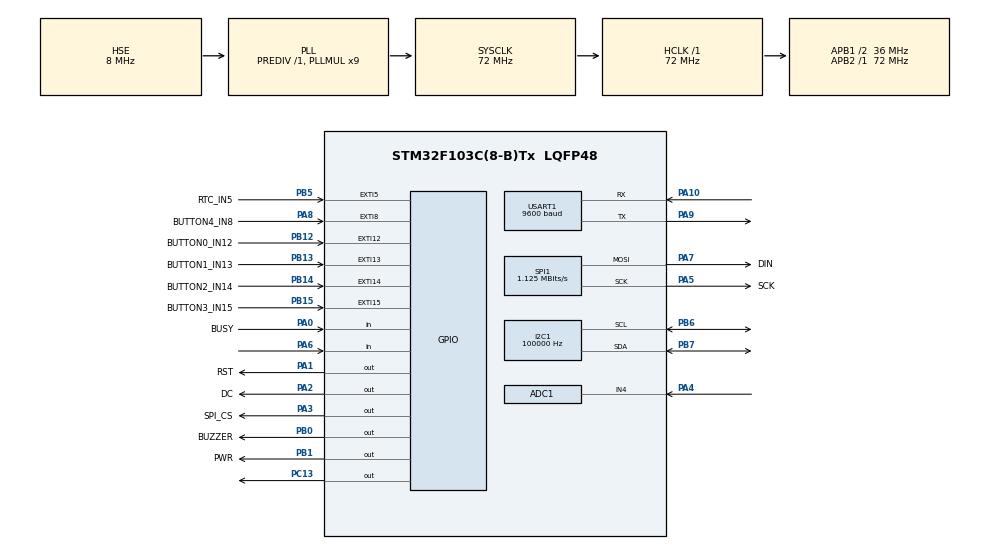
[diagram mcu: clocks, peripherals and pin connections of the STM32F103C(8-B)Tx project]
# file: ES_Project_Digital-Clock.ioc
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ADC1.Channel-0\#ChannelRegularConversion=ADC_CHANNEL_4
ADC1.NbrOfConversionFlag=1
ADC1.Rank-0\#ChannelRegularConversion=1
ADC1.SamplingTime-0\#ChannelRegularConversion=ADC_SAMPLETIME_1CYCLE_5
ADC1.master=1
I2C1.ClockSpeed=100000
Mcu.Family=STM32F1
Mcu.Name=STM32F103C(8-B)Tx
Mcu.Package=LQFP48
NVIC.ADC1_2_IRQn=true\:0\:0\:true\:false\:true\:true\:true\:true
NVIC.EXTI15_10_IRQn=true\:0\:0\:true\:false\:true\:true\:true\:true
NVIC.EXTI9_5_IRQn=true\:0\:0\:true\:false\:true\:true\:true\:true
NVIC.PriorityGroup=NVIC_PRIORITYGROUP_4
NVIC.USART1_IRQn=true\:0\:0\:true\:false\:true\:true\:true\:true
PA0-WKUP.GPIO_Label=BUSY
PA0-WKUP.Signal=GPIO_Input
PA1.GPIO_Label=RST
PA1.Signal=GPIO_Output
PA10.Mode=Asynchronous
PA10.Signal=USART1_RX
PA13.Mode=Serial_Wire
PA13.Signal=SYS_JTMS-SWDIO
PA14.Mode=Serial_Wire
PA14.Signal=SYS_JTCK-SWCLK
PA2.GPIO_Label=DC
PA2.Signal=GPIO_Output
PA3.GPIO_Label=SPI_CS
PA3.Signal=GPIO_Output
PA4.Signal=ADCx_IN4
PA5.GPIO_Label=SCK
PA5.Mode=TX_Only_Simplex_Unidirect_Master
PA5.Signal=SPI1_SCK
PA6.Signal=GPIO_Input
PA7.GPIO_Label=DIN
PA7.Mode=TX_Only_Simplex_Unidirect_Master
PA7.Signal=SPI1_MOSI
PA8.GPIO_Label=BUTTON4_IN8
PA8.GPIO_ModeDefaultEXTI=GPIO_MODE_IT_FALLING
PA8.GPIO_PuPd=GPIO_PULLDOWN
PA8.Signal=GPXTI8
PA9.Mode=Asynchronous
PA9.Signal=USART1_TX
PB0.GPIO_Label=BUZZER
PB0.Signal=GPIO_Output
PB1.GPIO_Label=PWR
PB1.Signal=GPIO_Output
PB12.GPIO_Label=BUTTON0_IN12
PB12.GPIO_ModeDefaultEXTI=GPIO_MODE_IT_FALLING
PB12.GPIO_PuPd=GPIO_PULLDOWN
PB12.Signal=GPXTI12
PB13.GPIO_Label=BUTTON1_IN13
PB13.GPIO_ModeDefaultEXTI=GPIO_MODE_IT_FALLING
PB13.GPIO_PuPd=GPIO_PULLDOWN
PB13.Signal=GPXTI13
PB14.GPIO_Label=BUTTON2_IN14
PB14.GPIO_ModeDefaultEXTI=GPIO_MODE_IT_FALLING
PB14.GPIO_PuPd=GPIO_PULLDOWN
PB14.Signal=GPXTI14
PB15.GPIO_Label=BUTTON3_IN15
PB15.GPIO_ModeDefaultEXTI=GPIO_MODE_IT_FALLING
PB15.GPIO_PuPd=GPIO_PULLDOWN
PB15.Signal=GPXTI15
PB5.GPIO_Label=RTC_IN5
PB5.GPIO_ModeDefaultEXTI=GPIO_MODE_IT_FALLING
PB5.Signal=GPXTI5
PB6.Mode=I2C
PB6.Signal=I2C1_SCL
PB7.Mode=I2C
PB7.Signal=I2C1_SDA
PC13-TAMPER-RTC.Signal=GPIO_Output
PD0-OSC_IN.Mode=HSE-External-Oscillator
PD0-OSC_IN.Signal=RCC_OSC_IN
PD1-OSC_OUT.Mode=HSE-External-Oscillator
PD1-OSC_OUT.Signal=RCC_OSC_OUT
ProjectManager.HeapSize=0x200
ProjectManager.StackSize=0x400
ProjectManager.TargetToolchain=STM32CubeIDE
RCC.ADCPresc=RCC_ADCPCLK2_DIV6
RCC.AHBFreq_Value=72000000
RCC.APB1CLKDivider=RCC_HCLK_DIV2
RCC.APB1Freq_Value=36000000
RCC.APB1TimFreq_Value=72000000
RCC.APB2Freq_Value=72000000
RCC.APB2TimFreq_Value=72000000
RCC.HCLKFreq_Value=72000000
RCC.PLLMUL=RCC_PLL_MUL9
RCC.PLLSourceVirtual=RCC_PLLSOURCE_HSE
RCC.SYSCLKFreq_VALUE=72000000
RCC.SYSCLKSource=RCC_SYSCLKSOURCE_PLLCLK
RCC.USBFreq_Value=72000000
SH.ADCx_IN4.0=ADC1_IN4,IN4
SPI1.BaudRatePrescaler=SPI_BAUDRATEPRESCALER_64
SPI1.CalculateBaudRate=1.125 MBits/s
SPI1.Direction=SPI_DIRECTION_2LINES
SPI1.Mode=SPI_MODE_MASTER
SPI1.VirtualType=VM_MASTER
USART1.BaudRate=9600
USART1.VirtualMode=VM_ASYNC
board=custom

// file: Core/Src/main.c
/* USER CODE BEGIN Header */
/**
  ******************************************************************************
  * @file           : main.c
  * @brief          : Main program body
  ******************************************************************************
  * @attention
  *
  * Copyright (c) 2025 STMicroelectronics.
  * All rights reserved.
  *
  * This software is licensed under terms that can be found in the LICENSE file
  * in the root directory of this software component.
  * If no LICENSE file comes with this software, it is provided AS-IS.
  *
  *
  * This project is developed by Nguyen Hung Minh, Bui Dinh Trung Nam, and Nguyen Duy Ngoc
  * - Students at Vietnam National University, Ho Chi Minh City - University of Technology.
  *
  * Please read and follow the naming conventions in naming_conventions.md before editing this file.
  *
  ******************************************************************************
  */
/* USER CODE END Header */
#include "main.h"
#include "adc.h"
#include "i2c.h"
#include "spi.h"
#include "usart.h"
#include "gpio.h"

/* USER CODE BEGIN Includes */

#include "stdbool.h"  // Include standard boolean types
#include "stdio.h"    // Include standard input/output functions
#include "string.h"   // Include string manipulation functions
#include "EPD_Test.h" // Include the EPD_Test header file for e-Paper display functions

/* USER CODE END Includes */

/* USER CODE BEGIN PTD */

// Enum for alarm day of week or date of month mode
typedef enum
{
  DAY_OF_WEEK_MODE,
  DATE_OF_MONTH_MODE,
  NOT_USED_MODE
} ALARM_DY_DT_MODE;

// Enum for button debounce states
typedef enum
{
  BUTTON_RELEASED,    // Button is not pressed (HIGH state)
  BUTTON_WAITING,     // Button is pressed (LOW state) and waiting for debounce delay
  BUTTON_PRESSED,     // Button is pressed (LOW state)
} BUTTON_STATE;

// Enum for system modes
//typedef enum {
// DEFAULT_MODE,
// TIME_SETUP_MODE,
// ALARM_SETUP_MODE,
// ALARM_VIEW_MODE,
// ALARM_ACTIVE_MODE,
// SYSTEM_OPTIONS_MODE
//} SYSTEM_MODE;

// Enum for system parameters to be selected for modification
typedef enum
{
  SET_MINUTE,   // Set minutes value
  SET_HOUR,     // Set hours value
  SET_DOW,      // Set day of the week value
  SET_DOM,      // Set date of the month value
  SET_MONTH,    // Set month value
  SET_YEAR,     // Set year value
  SET_DY_DT,    // Set day of week or date of month (1 = day of week, 0 = date of month, 2 = not used)
  SET_DOW_DOM,  // Set day of the week or date of the month value
  SET_ON_OFF,   // Set ON/OFF state
} SYSTEM_PARAM_SELECT;

// Structure of 7 one-byte unsigned characters to store time values
typedef struct
{
	uint8_t second;       // Seconds: 0-59
	uint8_t minute;       // Minutes: 0-59
	uint8_t hour;         // Hours: 0-23
	uint8_t dayofweek;    // Day of the week: 1-7 (1 = Sunday, 2 = Monday, ..., 7 = Saturday)
	uint8_t dateofmonth;  // Date of the month: 1-31
	uint8_t month;        // Month: 1-12
	uint8_t year;         // Year: 0-99 (0 = 2000, 1 = 2001, ..., 99 = 2099)
} TIME_DATA;

// Structure of 4 one-byte unsigned characters to store alarm values
typedef struct
{
  uint8_t           second;   // Seconds: 0-59 (MSB = 1 for ON, 0 for OFF)
  uint8_t           minute;   // Minutes: 0-59
  uint8_t           hour;     // Hours: 0-23
  ALARM_DY_DT_MODE  dy_dt;    // Select: DAY_OF_WEEK_MODE, DATE_OF_MONTH_MODE, NOT_USED_MODE
  uint8_t           dow_dom;  // Day of the week: 1-7 (1 = Sunday, 2 = Monday, ..., 7 = Saturday), or Date of the month: 1-31
  bool              on_off;   // true = ON, false = OFF
} ALARM_DATA;

// Struct representing each button with debouncing state
typedef struct
{
  GPIO_TypeDef    *gpio_port; // GPIO port of the button
  uint16_t        gpio_pin;   // GPIO pin of the button
  uint8_t         index;      // Index of the button (0-4)
  BUTTON_STATE    state;      // Current state of the button
  uint32_t        start_tick; // Start time of the debounce timer
  volatile bool   int_flag;   // Set when button interrupt is triggered
  volatile bool   press_flag; // Set when button is pressed
  volatile bool   hold_flag;  // Set when button is held down
  volatile bool   latch;  // Set when button is pressed or held (once only)
} BUTTON_DATA;

// Struct for system state
typedef struct
{
  SYSTEM_MODE         mode;             // Current system mode
  SYSTEM_MODE         past_mode;        // Previous system mode
  SYSTEM_PARAM_SELECT param_select;     // Selected system parameter to be modified
  uint8_t             cursor;           // Cursor of selection
  uint8_t             battery_display;  // Battery percentage to be displayed: 100, 75, 50, 25, 0
} SYSTEM_STATE;

// Struct for system parameters to be modified
typedef struct
{
  uint8_t           minute;   // Minutes: 0-59
  uint8_t           hour;     // Hours: 0-23
  uint8_t           dow;      // Day of the week: 1-7 (1 = Sunday, 2 = Monday, ..., 7 = Saturday), or Date of the month: 1-31
  uint8_t           dom;      // Date of the month: 1-31, or Day of the week: 1-7, or not used: 0
  uint8_t           month;    // Month: 1-12
  uint8_t           year;     // Year: 0-99 (0 = 2000, 1 = 2001, ..., 99 = 2099)
  ALARM_DY_DT_MODE  dy_dt;    // Select: DAY_OF_WEEK_MODE, DATE_OF_MONTH_MODE, NOT_USED_MODE
  uint8_t           dow_dom;  // Day of the week: 1-7 (1 = Sunday, 2 = Monday, ..., 7 = Saturday), or Date of the month: 1-31
  bool              on_off;   // true = ON, false = OFF
} SYSTEM_PARAM_DATA;

/* USER CODE END PTD */

/* USER CODE BEGIN PD */

// Slave address of DS3231 RTC module
#define DS3231_ADDR 0xD0

// I2C handle for DS3231 RTC module
#define DS3231_I2C &hi2c1

// Slave address of AT24C64D EEPROM module
#define EEPROM_ADDR 0xA0

// I2C handle for AT24C64D EEPROM module
#define EEPROM_I2C &hi2c1

// Number of alarms in the EEPROM module
#define ALARM_SLOT_NUM 10

// Address of alarm slot pointer in EEPROM module (right after the last alarm slot)
#define ALARM_SLOT_PTR_ADDR (ALARM_SLOT_NUM * 4)

// Active state of buttons
#define BUTTON_ACTIVE GPIO_PIN_SET

// Debounce threshold in milliseconds
#define BUTTON_DEBOUNCE_DELAY 30

// Button hold threshold in milliseconds
#define BUTTON_HOLD_TH 600

// Button hold cycle in milliseconds
#define BUTTON_HOLD_CYCLE 250

// Number of system modes
#define SYSTEM_MODE_NUM 6

// Maximum value of the system cursor
#define SYSTEM_CURSOR_MAX 9

// Delay for displaying the e-Paper screen in milliseconds
#define DISPLAY_DELAY 500

/* USER CODE END PD */

/* USER CODE BEGIN PV */

/* SYSTEM ==========================================*/
// Global variable to store the current system mode and selected parameter
SYSTEM_STATE system_state = {0};

// Global variable to store the system parameters to be modified
SYSTEM_PARAM_DATA system_param_data = {0};

/* RTC & EEPROM ====================================*/
// Variable to store the time values received from the RTC module every second
volatile TIME_DATA time_get_data = {0};

// Array to store the alarm values received from the EEPROM module
volatile ALARM_DATA alarm_get_data [ALARM_SLOT_NUM] = {0};

// Pointer to the next free alarm in the EEPROM module
uint8_t alarm_slot_ptr;

// Flag for RTC trigger external interrupt (RTC Interrupt Flag) on PB4 (Activated every second)
volatile bool rtc_int_flag = false;

// Debugging: Track the number of alarm activations
uint8_t debug_alarm_activate_ctr = 0;
volatile bool debug_rtc_int = false;

/* BUTTON ========================================*/
// Debugging: Track if the button is pressed or not
volatile uint8_t debug_button_counter[5] = {0};

// Global instances of DEBOUNCE_BUTTON for each button
BUTTON_DATA button0 = {GPIOB, BUTTON0_IN12_Pin, 0, BUTTON_RELEASED, 0, false, false, false, false};
BUTTON_DATA button1 = {GPIOB, BUTTON1_IN13_Pin, 1, BUTTON_RELEASED, 0, false, false, false, false};
BUTTON_DATA button2 = {GPIOB, BUTTON2_IN14_Pin, 2, BUTTON_RELEASED, 0, false, false, false, false};
BUTTON_DATA button3 = {GPIOB, BUTTON3_IN15_Pin, 3, BUTTON_RELEASED, 0, false, false, false, false};
BUTTON_DATA button4 = {GPIOA, BUTTON4_IN8_Pin,  4, BUTTON_RELEASED, 0, false, false, false, false};

/* ADC ==========================================*/
// Flag for ADC interrupt (ADC Valid Flag)
volatile bool adc_valid_flag = false;

// Variable for ADC raw data
uint16_t adc_data;

// Variable for battery percentage (raw data * 100 / 4095 (2^12))
uint16_t battery_percentage;

/* UART ========================================*/
// Flag for UART interrupt (UART Receive Flag)
volatile bool uart_rx_flag = false;

// Variable for UART receive data: hour and minute
uint8_t uart_rx_data[2];

// Variable to store hour and minute values received from the UART module
uint8_t uart_rx_hour;
uint8_t uart_rx_minute;

/* USER CODE END PV */

void SystemClock_Config(void);
/* USER CODE BEGIN PFP */

// Function to convert a normal decimal number to binary coded decimal (BCD)
uint8_t Dec_To_BCD(int val);

// Function to convert a binary coded decimal (BCD) value to a normal decimal number
int BCD_To_Dec(uint8_t val);

// Function to initialize RTC module
void Time_Init (uint8_t sec, uint8_t min, uint8_t hour, uint8_t dow, uint8_t dom, uint8_t month, uint8_t year);

// Function to initially set time to the RTC module through I2C interface (Run only once after reset the RTC)
void Time_Set (uint8_t sec, uint8_t min, uint8_t hour, uint8_t dow, uint8_t dom, uint8_t month, uint8_t year);

// Function to get time from the RTC module through I2C interface
void Time_Get (volatile TIME_DATA *time_get_data);

// Function to control settings of the RTC module (Alarm 1)
void Time_Ctrl (uint8_t mode, uint8_t sec, uint8_t min, uint8_t hour, uint8_t dow_dom, bool dy_dt);

// Function to write a single alarm to the EEPROM module
void Alarm_Set (uint8_t sec, uint8_t min, uint8_t hour, uint8_t dow_dom, ALARM_DY_DT_MODE dy_dt, bool on_off, uint8_t slot);

// Function to read a single alarm from the EEPROM module
void Alarm_Get (uint8_t slot, volatile ALARM_DATA *alarm_get_data);

// Function to clear a single alarm from the EEPROM module
void Alarm_Clear (uint8_t slot);

// // Function to check the alarms
void Alarm_Check (volatile TIME_DATA *time_get_data);

// Functions to handle alarm slot pointer
void Alarm_Slot_Pointer_Set (void);
void Alarm_Slot_Pointer_Get (void);

// Debounce handler function to be called in main loop
void Button_Debounce(BUTTON_DATA *button);

// Button handler function to be called in main loop
void Button_Handle(void);

// System mode handlers
void System_Default_Mode_Handle (BUTTON_DATA *button);
void System_Time_Setup_Mode_Handle (BUTTON_DATA *button);
void System_Alarm_Setup_Mode_Handle (BUTTON_DATA *button);
void System_Alarm_View_Mode_Handle (BUTTON_DATA *button);
void System_Alarm_Active_Mode_Handle (BUTTON_DATA *button);
void System_Options_Mode_Handle (BUTTON_DATA *button);

/* USER CODE END PFP */

int main(void)
{

  /* MCU Configuration--------------------------------------------------------*/

  /* Reset of all peripherals, Initializes the Flash interface and the Systick. */
  HAL_Init();

  /* Configure the system clock */
  SystemClock_Config();

  /* Initialize all configured peripherals */
  MX_GPIO_Init();
  MX_I2C1_Init();
  MX_ADC1_Init();
  MX_USART1_UART_Init();
  MX_SPI1_Init();
  /* USER CODE BEGIN 2 */

//  // Set time to the RTC module through I2C interface (Run only once after reset the RTC).
//  //    void Time_Set(uint8_t sec, uint8_t min, uint8_t hour, uint8_t dow, uint8_t dom, uint8_t month, uint8_t year)
//  Time_Set
//  (
//     0, // Seconds: 0-59
//    26, // Minutes: 0-59
//    11, // Hours: 0-23
//     4, // Day of the week: 1-7 (1 = Sunday, 2 = Monday, ..., 7 = Saturday)
//    18, // Date of the month: 1-31
//     4, // Month: 1-12
//    25  // Year: 0-99 (0 = 2000, 1 = 2001, ..., 99 = 2099)
//  );

  // Initialize RTC module (Run only once after reset the RTC).
  Time_Ctrl
  (
     0, // Alarm rate: 0-5
     0, // Seconds: 0-59
     0, // Minutes: 0-59
     0, // Hours: 0-23
     0, // Day of the week: 1-7 (1 = Sunday, 2 = Monday, ..., 7 = Saturday), or Date of the month: 1-31
     0  // Select: 1 = day of week, 0 = date of month
  );

  // Initially retrieve the time values from the RTC module
  Time_Get(&time_get_data);

  // // Clear all alarms in the EEPROM module
  // for (int i = 0; i < ALARM_SLOT_NUM; i++)
  // {
  //   Alarm_Clear(i);
  //   alarm_slot_ptr = 0;
  //   Alarm_Slot_Pointer_Set();
  // }

  // // Store values of a single alarm to the next available address on the EEPROM module
  // //    void Alarm_Set (uint8_t sec, uint8_t min, uint8_t hour, uint8_t dow_dom, ALARM_DY_DT_MODE dy_dt, bool on_off, uint8_t slot)
  // Alarm_Set
  // (
  //   10,    // Seconds: 0-59
  //   20,    // Minutes: 0-59
  //   22,    // Hours: 0-23
  //    9,    // Day of the week: 1-7 (1 = Sunday, 2 = Monday, ..., 7 = Saturday), or Date of the month: 1-31, or not used: 0
  //    0,    // Select: 0 = date of month, 1 = day of week, 2 = not used
  //   false, // true = ON, false = OFF
  //    1     // Slot number of the alarm in the EEPROM module (0-9)
  // );

  // Initially retrieve the alarm slot pointer data from the EEPROM module
  Alarm_Slot_Pointer_Get();

  // Initially retrieve the alarm values from the EEPROM module and send to system memory
  for (int i = 0; i < alarm_slot_ptr; i++)
  {
    Alarm_Get(i, &alarm_get_data[i]);
  }

  // Set the initial system parameters to current time values and default settings for convenience
  system_param_data =
  (SYSTEM_PARAM_DATA)
  {
    time_get_data.minute,       // Minutes: 0-59
    time_get_data.hour,         // Hours: 0-23
    time_get_data.dayofweek,    // Day of the week: 1-7 (1 = Sunday, 2 = Monday, ..., 7 = Saturday)
    time_get_data.dateofmonth,  // Date of the month: 1-31
    time_get_data.month,        // Month: 1-12
    time_get_data.year,         // Year: 0-99 (0 = 2000, 1 = 2001, ..., 99 = 2099)
    NOT_USED_MODE,              // Select: DAY_OF_WEEK_MODE, DATE_OF_MONTH_MODE, NOT_USED_MODE
    time_get_data.dayofweek,    // Day of the week: 1-7 (1 = Sunday, 2 = Monday, ..., 7 = Saturday), or Date of the month: 1-31
    true                        // true = ON, false = OFF
  };

  // Initialize the UART module to receive data
  //    HAL_UART_Receive_IT(UART_HandleTypeDef *huart, uint8_t *pData, uint16_t Size);
  HAL_UART_Receive_IT(&huart1, uart_rx_data, 2);

  // Initialize the ADC module to monitor battery voltage
  //    HAL_ADC_Start_IT(ADC_HandleTypeDef *hadc);
  HAL_ADC_Start_IT(&hadc1);

  /* USER CODE END 2 */

  /* Infinite loop */
  while (1)
  {

    /* USER CODE BEGIN 3 */

    // Call the button debounce handler for each button
    Button_Handle();

    // int a;
    // a = 1;
    // TIME_DATA time_get;

    // Check if the RTC Interrupt Flag is set (RTC Interrupt Flag) on PB4 (Activated every second)
    if (rtc_int_flag)
    {
      // Retrieve the time values from the RTC module
      Time_Get(&time_get_data);

      // Check the alarms
      //   void Alarm_Check (volatile TIME_DATA *time_get_data)
      Alarm_Check(&time_get_data);

      // Debugging: Toggle the debug RTC interrupt flag for debugging purposes
      debug_rtc_int = !debug_rtc_int;

      // time_get = (TIME_DATA) time_get_data;
      // default_mode(&a, &time_get.hour, &time_get.minute, &time_get.second);

      // Check if the ADC interrupt flag is set (ADC Valid Flag)
      if (adc_valid_flag)
      {
        // Re-enable the ADC interrupt to continue monitoring ADC values
        HAL_ADC_Start_IT(&hadc1);

        // Delay for 100ms to allow the ADC to stabilize
        HAL_Delay(100);

        // Track the battery percentage value at 5 different levels: 0, 25, 50, 75, 100
        if ((battery_percentage % 25) == 0)
        {
          // Update the battery percentage value to be displayed
          system_state.battery_display = battery_percentage;
        }

        // Reset the ADC interrupt flag
        adc_valid_flag = false;
      }

      // Reset the RTC Interrupt Flag
      rtc_int_flag = false;
    }

    // Check if the UART interrupt flag is set (UART Receive Flag)
    if (uart_rx_flag)
	  {
      // Re-enable the UART interrupt to continue receiving data
      HAL_UART_Receive_IT(&huart1,uart_rx_data,2);

      // Delay for 100ms to allow the UART to stabilize
      HAL_Delay(100);

      // Reset the UART interrupt flag
      uart_rx_flag = false;
	  }

  }
  /* USER CODE END 3 */
}

void SystemClock_Config(void)
{
  RCC_OscInitTypeDef RCC_OscInitStruct = {0};
  RCC_ClkInitTypeDef RCC_ClkInitStruct = {0};
  RCC_PeriphCLKInitTypeDef PeriphClkInit = {0};

  /** Initializes the RCC Oscillators according to the specified parameters
  * in the RCC_OscInitTypeDef structure.
  */
  RCC_OscInitStruct.OscillatorType = RCC_OSCILLATORTYPE_HSE;
  RCC_OscInitStruct.HSEState = RCC_HSE_ON;
  RCC_OscInitStruct.HSEPredivValue = RCC_HSE_PREDIV_DIV1;
  RCC_OscInitStruct.HSIState = RCC_HSI_ON;
  RCC_OscInitStruct.PLL.PLLState = RCC_PLL_ON;
  RCC_OscInitStruct.PLL.PLLSource = RCC_PLLSOURCE_HSE;
  RCC_OscInitStruct.PLL.PLLMUL = RCC_PLL_MUL9;
  if (HAL_RCC_OscConfig(&RCC_OscInitStruct) != HAL_OK)
  {
    Error_Handler();
  }

  /** Initializes the CPU, AHB and APB buses clocks
  */
  RCC_ClkInitStruct.ClockType = RCC_CLOCKTYPE_HCLK|RCC_CLOCKTYPE_SYSCLK
                              |RCC_CLOCKTYPE_PCLK1|RCC_CLOCKTYPE_PCLK2;
  RCC_ClkInitStruct.SYSCLKSource = RCC_SYSCLKSOURCE_PLLCLK;
  RCC_ClkInitStruct.AHBCLKDivider = RCC_SYSCLK_DIV1;
  RCC_ClkInitStruct.APB1CLKDivider = RCC_HCLK_DIV2;
  RCC_ClkInitStruct.APB2CLKDivider = RCC_HCLK_DIV1;

  if (HAL_RCC_ClockConfig(&RCC_ClkInitStruct, FLASH_LATENCY_2) != HAL_OK)
  {
    Error_Handler();
  }
  PeriphClkInit.PeriphClockSelection = RCC_PERIPHCLK_ADC;
  PeriphClkInit.AdcClockSelection = RCC_ADCPCLK2_DIV6;
  if (HAL_RCCEx_PeriphCLKConfig(&PeriphClkInit) != HAL_OK)
  {
    Error_Handler();
  }
}

/* USER CODE BEGIN 4 */

/* User-defined functions---------------------------------------------------*/

/**
  * @brief  Convert a normal decimal number to Binary Coded Decimal (BCD).
  * @param  val: Decimal number to be converted.
  * @retval uint8_t: BCD representation of the input decimal number.
  */
uint8_t Dec_To_BCD(int val)
{
  return (uint8_t)( (val/10*16) + (val%10) );
}

/**
  * @brief  Convert a Binary Coded Decimal (BCD) value to a normal decimal number.
  * @param  val: BCD value to be converted.
  * @retval int: Decimal representation of the input BCD value.
  */
int BCD_To_Dec(uint8_t val)
{
  return (int)( (val/16*10) + (val%16) );
}

/**
  * @brief  Set time to the RTC module through I2C interface (Run only once after reset the RTC).
  * @param  sec: Seconds: 0-59
  * @param  min: Minutes: 0-59
  * @param  hour: Hours: 0-23
  * @param  dow: Day of the week: 1-7 (1 = Sunday, 2 = Monday, ..., 7 = Saturday)
  * @param  dom: Date of the month: 1-31
  * @param  month: Month: 1-12
  * @param  year: Year: 0-99 (0 = 2000, 1 = 2001, ..., 99 = 2099)
  * @retval None
*/
void Time_Set (uint8_t sec, uint8_t min, uint8_t hour, uint8_t dow, uint8_t dom, uint8_t month, uint8_t year)
{
	// A blank array (7 slots) to contain the time values
  uint8_t setTime[7];

  // Store the time values (converted in to BCD code) into the blank array
	setTime[0] = Dec_To_BCD(sec);
	setTime[1] = Dec_To_BCD(min);
	setTime[2] = Dec_To_BCD(hour);
	setTime[3] = Dec_To_BCD(dow);
	setTime[4] = Dec_To_BCD(dom);
	setTime[5] = Dec_To_BCD(month);
	setTime[6] = Dec_To_BCD(year);

  // Send the array containing the time values to the RTC module through I2C interface at address 00h - 06h (size of value: 7 bytes)
  HAL_I2C_Mem_Write(DS3231_I2C, DS3231_ADDR, 0x00, 1, setTime, sizeof(setTime), 1000);

  // Delay for 1ms to allow the RTC module to process the data
  HAL_Delay(1);
}

/**
  * @brief  Get time from the RTC module through I2C interface.
  * @param  time_get_data: Pointer to a TIME structure to store the retrieved time values.
  * @retval None
*/
void Time_Get (volatile TIME_DATA *time_get_data)
{
	// A blank array (7 slots) to contain the time values received from the RTC module
  uint8_t getTime[7];

  // Receive the time values from the RTC module through I2C interface, then store them into the blank array (size of value: 7 bytes)
  HAL_I2C_Mem_Read(DS3231_I2C, DS3231_ADDR, 0x00, 1, getTime, sizeof(getTime), 1000);

  // Delay for 1ms to allow the RTC module to process the data
  HAL_Delay(1);

  // Store the time values (converted from BCD code to decimal) into the time variable
	time_get_data->second       = BCD_To_Dec(getTime[0]);
	time_get_data->minute       = BCD_To_Dec(getTime[1]);
	time_get_data->hour         = BCD_To_Dec(getTime[2]);
	time_get_data->dayofweek    = BCD_To_Dec(getTime[3]);
	time_get_data->dateofmonth  = BCD_To_Dec(getTime[4]);
	time_get_data->month        = BCD_To_Dec(getTime[5]);
	time_get_data->year         = BCD_To_Dec(getTime[6]);
}

/**
  * @brief  Control settings of the RTC module (Alarm 1).
  * @param  mode: Alarm rate (0-5).
  * @param  sec: Seconds: 0-59.
  * @param  min: Minutes: 0-59.
  * @param  hour: Hours: 0-23.
  * @param  dow_dom: Day of the week or date of the month (1-7 or 1-31).
  * @param  dy_dt: Day of week or date of month (1 = day of week, 0 = date of month, 0 = not used).
  * @retval None
*/
void Time_Ctrl (uint8_t mode, uint8_t sec, uint8_t min, uint8_t hour, uint8_t dow_dom, bool dy_dt)
{
  // A blank array (4 slots) to contain the RTC alarm settings
  uint8_t ctrlTime[4];

  // A mask bit to set the Control register in the RTC module
  //    Address 0Eh: A1IE = 1
  uint8_t ctrlAlarm = 1;

  // A mask bit to set the alarm modes (Bit 7) in the RTC module
  uint8_t maskBit = 128;

  // A mask bit for selection of [day of week] or [date of month] (Bit 6) in the RTC module
  //    If the input [day of week]/ [date of month] selection is 1, the mask bit will be 64.
  uint8_t dyDt = (dy_dt == true) ? 64 : 0;

  // Store the RTC alarm time settings (converted into BCD code) into the blank array
  ctrlTime[0] = Dec_To_BCD(sec);
	ctrlTime[1] = Dec_To_BCD(min);
	ctrlTime[2] = Dec_To_BCD(hour);
	ctrlTime[3] = Dec_To_BCD(dow_dom);

  // Adjust the RTC alarm mode settings into the array basing on the input mode
  //    Mode  : Alarm rate
  //      0    : Alarm once per second
  //      1    : Alarm when seconds match
  //      2    : Alarm when minutes and seconds match
  //      3    : Alarm when hours, minutes, and seconds match
  //      4    : Alarm when date, hours, minutes, and seconds match
  //      5    : Alarm when day, hours, minutes, and seconds match
  switch (mode)
  {
    case 0:
      // Alarm mask bit: A1M4:A1M1 = b1111, DY/DT = X
      ctrlTime[0] += maskBit;
      ctrlTime[1] += maskBit;
      ctrlTime[2] += maskBit;
      ctrlTime[3] += maskBit;
      break;
    case 1:
      // Alarm mask bit: A1M4:A1M1 = b1110, DY/DT = X
      ctrlTime[0] += 0;
      ctrlTime[1] += maskBit;
      ctrlTime[2] += maskBit;
      ctrlTime[3] += maskBit;
      break;
    case 2:
      // Alarm mask bit: A1M4:A1M1 = b1100, DY/DT = X
      ctrlTime[0] += 0;
      ctrlTime[1] += 0;
      ctrlTime[2] += maskBit;
      ctrlTime[3] += maskBit;
      break;
    case 3:
      // Alarm mask bit: A1M4:A1M1 = b1000, DY/DT = X
      ctrlTime[0] += 0;
      ctrlTime[1] += 0;
      ctrlTime[2] += 0;
      ctrlTime[3] += maskBit;
      break;
    case 4:
      // Alarm mask bit: A1M4:A1M1 = b0000, DY/DT = 0
      ctrlTime[0] += 0;
      ctrlTime[1] += 0;
      ctrlTime[2] += 0;
      ctrlTime[3] += 0;
      break;
    case 5:
      // Alarm mask bit: A1M4:A1M1 = b0000, DY/DT = 1
      ctrlTime[0] += 0;
      ctrlTime[1] += 0;
      ctrlTime[2] += 0;
      ctrlTime[3] += dyDt;
      break;
    default:
      // Alarm mask bit: A1M4:A1M1 = b0000, DY/DT = 0
      ctrlTime[0] += 0;
      ctrlTime[1] += 0;
      ctrlTime[2] += 0;
      ctrlTime[3] += 0;
      break;
  }

  // Send the array containing the RTC alarm mode setting to the RTC module through I2C interface at address 07h - 0Ah (size of value: 4 bytes)
  HAL_I2C_Mem_Write(DS3231_I2C, DS3231_ADDR, 0x07, 1, ctrlTime, sizeof(ctrlTime), 1000);

  // Delay for 1ms to allow the RTC module to process the data
  HAL_Delay(1);

  // Send the alarm control mask bits to the RTC module through I2C interface at address 0Eh (size of value: 1 byte)
  HAL_I2C_Mem_Write(DS3231_I2C, DS3231_ADDR, 0x0E, 1, &ctrlAlarm, sizeof(ctrlAlarm), 1000);

  // Delay for 1ms to allow the RTC module to process the data
  HAL_Delay(1);
}

/**
  * @brief  Initialize RTC module (Run only once after reset the RTC).
  * @param  sec: Seconds: 0-59
  * @param  min: Minutes: 0-59
  * @param  hour: Hours: 0-23
  * @param  dow: Day of the week: 1-7 (1 = Sunday, 2 = Monday, ..., 7 = Saturday)
  * @param  dom: Date of the month: 1-31
  * @param  month: Month: 1-12
  * @param  year: Year: 0-99 (0 = 2000, 1 = 2001, ..., 99 = 2099)
  * @retval None
*/
void Time_Init (uint8_t sec, uint8_t min, uint8_t hour, uint8_t dow, uint8_t dom, uint8_t month, uint8_t year)
{
  // This function is intended for initial setup of the RTC module after a reset.
  // It should not be called repeatedly unless reinitialization is required.
  //    Time_Set (uint8_t sec, uint8_t min, uint8_t hour, uint8_t dow, uint8_t dom, uint8_t month, uint8_t year)
  Time_Set (sec, min, hour, dow, dom, month, year);

  // Run only once after reset the RTC module to initially set the alarm
  //    Time_Ctrl (uint8_t mode, uint8_t sec, uint8_t min, uint8_t hour, uint8_t dow_dom, bool dy_dt)
  //      Mode   : Alarm rate
  //        0    : Alarm once per second
  //        1    : Alarm when seconds match
  //        2    : Alarm when minutes and seconds match
  //        3    : Alarm when hours, minutes, and seconds match
  //        4    : Alarm when date, hours, minutes, and seconds match
  //        5    : Alarm when day, hours, minutes, and seconds match
  //      For mode 0, the remaining input are don't-care values
  Time_Ctrl
  (
     0, // Alarm rate: 0-5
     0, // Seconds: 0-59
     0, // Minutes: 0-59
     0, // Hours: 0-23
     0, // Day of the week: 1-7 (1 = Sunday, 2 = Monday, ..., 7 = Saturday), or Date of the month: 1-31
     0  // Select: 1 = day of week, 0 = date of month
  );
}

/**
  * @brief  Write a single alarm to the EEPROM module.
  * @param  sec: Seconds: 0-59
  * @param  min: Minutes: 0-59
  * @param  hour: Hours: 0-23
  * @param  dow_dom: Day of the week or date of the month (day of week: 1-7, date of month: 1-31, not used: X)
  * @param  dy_dt: Day of week or date of month (0 = date of month, 1 = day of week, 2 = not used)
  * @param  on_off: On/ Off state of the alarm (1 = ON, 0 = OFF)
  * @param  slot: Slot number of the alarm in the EEPROM module (0-9)
  * @retval None
*/
void Alarm_Set (uint8_t sec, uint8_t min, uint8_t hour, uint8_t dow_dom, ALARM_DY_DT_MODE dy_dt, bool on_off, uint8_t slot)
{
  // Encode the ON/OFF state of the alarm into the alarm package
  // By masking the 7th bit of the second register
  if (on_off)
  {
    sec += (1 << 7);
  }

  // Encode the day of week or date of month mode into the alarm package
  // By masking the 7th and 6th bits of the dow_dom variable
  switch (dy_dt)
  {
    // Date of the month
    case DATE_OF_MONTH_MODE:
      // Encoding: [Bit 7] = 1, [Bit 6] = 0
      dow_dom += (1 << 7);
      break;

    // Day of the week
    case DAY_OF_WEEK_MODE:
      // Ending: [Bit 7] = 1, [Bit 6] = 1
      dow_dom += ((1 << 7) | (1 << 6));
      break;

    // Not used
    case NOT_USED_MODE:
      // Encoding: [Bit 7] = 0, [Bit 6] = 0
      dow_dom += 0;
      break;

    default:
      dow_dom += 0;
      break;
  }

  // Store the encoded alarm values into the blank array
  uint8_t setAlarm[4] = {sec, min, hour, dow_dom};

  // Calculate the internal address of the alarm in the EEPROM module (0-8192, or 13 bits)
  // By multiplying the slot number by 4 (size of each alarm: 4 bytes)
  uint16_t address = slot * 4;

  // Send the array containing the alarm values to the EEPROM module through I2C interface
  HAL_I2C_Mem_Write(EEPROM_I2C, EEPROM_ADDR, address, 2, setAlarm, sizeof(setAlarm), 1000);

  // Delay to allow the EEPROM module to complete the Page Write operation
  HAL_Delay(5);
}

/**
  * @brief  Read a single alarm from the EEPROM module.
  * @param  slot: Slot number of the alarm in the EEPROM module (0-9)
  * @param  alarm_get_data: Pointer to an ALARM_DATA structure to store the retrieved alarm values
  * @retval None
*/
void Alarm_Get (uint8_t slot, volatile ALARM_DATA *alarm_get_data)
{
  // Address of the alarm in the EEPROM module (0-8192, or 13 bits)
  uint16_t address = slot * 4;

  // A blank array (4 slots) to contain the alarm values received from the EEPROM module
  uint8_t getAlarm[4];

  // Receive the alarm values from the EEPROM module through I2C interface, then store them into the blank array (size of value: 4 bytes)
  HAL_I2C_Mem_Read(EEPROM_I2C, EEPROM_ADDR, address, 2, getAlarm, sizeof(getAlarm), 1000);

  // Delay to allow the EEPROM module to complete the Sequential Read operation
  HAL_Delay(1);

  // Store the alarm values into the alarm variable
  alarm_get_data->second = 0;
  alarm_get_data->minute = getAlarm[1];
  alarm_get_data->hour = getAlarm[2];

  if (getAlarm[3] >= (1 << 7))
  {
    if ((getAlarm[3] & 0x7F) >= (1 << 6))
    {
      alarm_get_data->dy_dt = DAY_OF_WEEK_MODE;
      alarm_get_data->dow_dom = getAlarm[3] & 0x3F;
    }
    else
    {
      alarm_get_data->dy_dt = DATE_OF_MONTH_MODE;
      alarm_get_data->dow_dom = getAlarm[3] & 0x7F;
    }
  }
  else
  {
    alarm_get_data->dy_dt = NOT_USED_MODE;
    alarm_get_data->dow_dom = getAlarm[3] & 0x7F;
  }

  if (getAlarm[0] >= (1 << 7)) alarm_get_data->on_off = true;
  else alarm_get_data->on_off = false;
}

/**
  * @brief  Clear a single alarm from the EEPROM module.
  * @param  slot: Slot number of the alarm in the EEPROM module (0-9)
  * @retval None
*/
void Alarm_Clear (uint8_t slot)
{
  // Address of the alarm in the EEPROM module (0-8192, or 13 bits)
  uint16_t address = slot * 4;

  // A blank array (4 slots) to contain the alarm values to be cleared
  uint8_t clearAlarm[4] = {0, 0, 0, 0};

  // Write the blank array to the EEPROM module through I2C interface
  HAL_I2C_Mem_Write(EEPROM_I2C, EEPROM_ADDR, address, 2, clearAlarm, sizeof(clearAlarm), 1000);

  // Delay to allow the EEPROM module to complete the Page Write operation
  HAL_Delay(5);
}

/**
 * @brief Save the data of pointer for the alarm slot to EEPROM module.
  * @retval None
 */
void Alarm_Slot_Pointer_Set (void)
{
  // Write the alarm slot pointer value to the EEPROM module through I2C interface
  HAL_I2C_Mem_Write(EEPROM_I2C, EEPROM_ADDR, ALARM_SLOT_PTR_ADDR, 2, &alarm_slot_ptr, sizeof(alarm_slot_ptr), 1000);

  // Delay to allow the EEPROM module to complete the Page Write operation
  HAL_Delay(5);
}

/**
 * @brief Retrieve the data of pointer for the alarm slot from EEPROM module.
  * @retval None
 */
void Alarm_Slot_Pointer_Get (void)
{
  // Read the alarm slot pointer from the EEPROM module through I2C interface
  HAL_I2C_Mem_Read(EEPROM_I2C, EEPROM_ADDR, ALARM_SLOT_PTR_ADDR, 2, &alarm_slot_ptr, sizeof(alarm_slot_ptr), 1000);

  // Delay to allow the EEPROM module to complete the Sequential Read operation
  HAL_Delay(1);
}

/**
  * @brief  Check the alarms stored in the EEPROM module against the current time.
  * @param  time_get_data: Pointer to a TIME structure to store the current time values
  * @retval None
  * @note   This function compares the current time with all alarms stored in the EEPROM module.
*/
void Alarm_Check (volatile TIME_DATA *time_get_data)
{
  // A blank array to contain the alarm values retrieved from the EEPROM module
  volatile ALARM_DATA alarmCheckData = {0};

  // Compare the current time with all available alarms in the EEPROM module
  for (int i = 0; i < alarm_slot_ptr; i++)
  {
    // Retrieve the alarm values from the EEPROM module
    //    void Alarm_Get (uint8_t slot, ALARM_DATA *alarm_get_data)
    Alarm_Get(i, &alarmCheckData);

    // Check if the alarm is at ON or OFF state by checking the MSB of the second register
    if (!alarmCheckData.on_off)
    {
      // Skip if the alarm is OFF
      continue;
    }

    // Check if the current time matches the alarm time (day of week)
    if ((alarmCheckData.dy_dt == DAY_OF_WEEK_MODE)
    &&  (alarmCheckData.dow_dom != time_get_data->dayofweek))
    {
      // Skip if the current time does NOT match the alarm time (day of week)
      continue;
    }

    // Check if the current time matches the alarm time (date of month)
    if ((alarmCheckData.dy_dt == DATE_OF_MONTH_MODE)
    &&  (alarmCheckData.dow_dom != time_get_data->dateofmonth))
    {
      // Skip if the current time does NOT match the alarm time (date of month)
      continue;
    }

    // Check if the current time matches the alarm time (hour)
    if (alarmCheckData.hour != time_get_data->hour)
    {
      // Skip if the current time does NOT match the alarm time (hour)
      continue;
    }

    // Check if the current time matches the alarm time (minute)
    if (alarmCheckData.minute != time_get_data->minute)
    {
      // Skip if the current time does NOT match the alarm time (minute)
      continue;
    }

    // Check if the current time matches the alarm time (second)
    if (alarmCheckData.second != time_get_data->second)
    {
      // Skip if the current time does NOT match the alarm time (second)
      continue;
    }

    // Debugging: If all the above checks pass, the alarm is activated
    debug_alarm_activate_ctr++;

    // Stop checking time matching
    // to make sure that only one alarm can be activated at a time
    break;
  }
}

/**
  * @brief  Debounce the button state and handle button press events.
  * @param  button: Pointer to a BUTTON structure representing the button to be debounced.
  * * @param  button->state: Current state of the button (BUTTON_RELEASED, BUTTON_WAITING, BUTTON_PRESSED).
  * * @param  button->int_flag: Interrupt flag indicating if the button is pressed (LOW).
  * * @param  button->press_flag: Flag indicating if the button is pressed (LOW).
  * * @param  button->hold_flag: Flag indicating if the button is held down (LOW).
  * * @param  button->hold_latch:
  * * @param  button->start_tick: Start time of the button press event (in milliseconds).
  * @retval None
*/
void Button_Debounce(BUTTON_DATA *button)
{
  // Handle button state transitions and debounce logic
  switch (button->state)
  {
    // Initial state: Button is released (HIGH)
    case BUTTON_RELEASED:

      // Reset all flags and state variables
      button->press_flag = false;
      button->hold_flag = false;
      button->latch = false;

      // Check if interrupt flag is set
      if (button->int_flag)
      {
        // Record the start time for debounce
        button->start_tick = HAL_GetTick();

        // Transition to waiting state
        button->state = BUTTON_WAITING;
      }
      break;

    // Waiting state: Button is pressed (LOW) but not yet confirmed
    case BUTTON_WAITING:
      // Check if debounce delay has passed
      if (HAL_GetTick() - button->start_tick >= (BUTTON_DEBOUNCE_DELAY + DISPLAY_DELAY))
      {
        // Check if button is still pressed (LOW state) after debounce delay
        if (HAL_GPIO_ReadPin(button->gpio_port, button->gpio_pin) == BUTTON_ACTIVE)
        {
          // Transition to pressed state
          button->state = BUTTON_PRESSED;
        }
        else
        {
          // Reset interrupt flag and return to released state
          button->int_flag = false;
          button->state = BUTTON_RELEASED;
        }
      }
      break;

    // Pressed state: Button is pressed (LOW)
    case BUTTON_PRESSED:
      // Check if button is released (HIGH state)
      if (HAL_GPIO_ReadPin(button->gpio_port, button->gpio_pin) != BUTTON_ACTIVE)
      {
        // Check if press duration is less than hold threshold
        if (HAL_GetTick() - button->start_tick < (BUTTON_HOLD_TH + DISPLAY_DELAY))
        {
          // Set press flag for short press
          button->press_flag = true;
        }

        // Reset interrupt flag and return to released state
        button->int_flag = false;

        //button->latch = false;
        button->state = BUTTON_RELEASED;
      }
      // Check if button is held down for long press
      else if ((HAL_GetTick() - button->start_tick >= (BUTTON_HOLD_TH + DISPLAY_DELAY)) && !button->hold_flag)
      {
        // Set hold flag for long press
        button->hold_flag = true;
      }
      break;

    default:
      // Reset all flags and return to released state
      button->state = BUTTON_RELEASED;
      button->int_flag = false;
      button->press_flag = false;
      button->hold_flag = false;
      button->latch = false;
      break;
  }
}

/**
 * @brief  Button interrupt handler function to be called in main loop
 * @retval None
 */
void Button_Handle (void)
{
  // An empty button variable containing reset values for button pointer initiallization
  BUTTON_DATA buttonReset = {GPIOB, BUTTON0_IN12_Pin, 0, BUTTON_RELEASED, 0, false, false, false, false};

  // Initially point to an empty button variable
  BUTTON_DATA *button = &buttonReset;

  // Perform button debouncing to filter out noise
  Button_Debounce(&button0);
  Button_Debounce(&button1);
  Button_Debounce(&button2);
  Button_Debounce(&button3);
  Button_Debounce(&button4);

  // Check which button is pressed or held and assign it to the button pointer
  if      (button0.press_flag || button0.hold_flag) button = &button0;
  else if (button1.press_flag || button1.hold_flag) button = &button1;
  else if (button2.press_flag || button2.hold_flag) button = &button2;
  else if (button3.press_flag || button3.hold_flag) button = &button3;
  else if (button4.press_flag || button4.hold_flag) button = &button4;

  // Initialize the start tick for button hold detection
  uint32_t startTick = 0;

  // Debugging: Check if the button is pressed or held by increment its counter in activation
  if (button->press_flag)
  {
    // Increment the debug counter for the button
    debug_button_counter[button->index]++;
  }
  else if (button->hold_flag)
  {
    // Check if the button is held down for a certain duration
    if (HAL_GetTick() - startTick >= BUTTON_HOLD_CYCLE)
    {
      // Increment the debug counter for the button
      debug_button_counter[button->index]++;

      // Reset the start tick for the next hold cycle
      startTick = HAL_GetTick();
    }
  }

  // Check if the button is pressed or held
  if (button->press_flag || button->hold_flag)
  {
    // Handle button actions based on the current system mode
    switch (system_state.mode)
    {
      case DEFAULT_MODE:
        System_Default_Mode_Handle (button);
        break;

      case TIME_SETUP_MODE:
        System_Time_Setup_Mode_Handle (button);
        break;

      case ALARM_SETUP_MODE:
        System_Alarm_Setup_Mode_Handle (button);
        break;

      case ALARM_VIEW_MODE:
        System_Alarm_View_Mode_Handle (button);
        break;

      case ALARM_ACTIVE_MODE:
        System_Alarm_Active_Mode_Handle (button);
        break;

      case SYSTEM_OPTIONS_MODE:
        System_Options_Mode_Handle (button);
        break;

      default:
        break;
    }
  }
}

/**
 * @brief  Handles the default system mode based on button actions.
 * @param  button: Pointer to the BUTTON_DATA structure containing button state and index.
 * @retval None
 */
void System_Default_Mode_Handle (BUTTON_DATA *button)
{
  switch (button->index)
  {
    // Button 0: If pressed, cycle through the modes; if held, do nothing (reserved for future use)
    case 0:
      if      (button->press_flag)
      {
        system_state.mode = (system_state.mode < (SYSTEM_MODE_NUM - 1)) ? (system_state.mode + 1) : 0;
      }

      else if (button->hold_flag)
      {
        // Reserved
      }
      break;

    // Button 1: Reserved for future use
    case 1:
      if (button->press_flag)
      {
        // Reserved
      }
      else if (button->hold_flag)
      {
        // Reserved
      }
      break;

    // Button 2: Reserved for future use
    case 2:
      if (button->press_flag)
      {
        // Reserved
      }
      else if (button->hold_flag)
      {
        // Reserved
      }
      break;

    // Button 3: If pressed, quick jump to Time Setup; if held, do nothing (reserved for future use)
    case 3:
      if (button->press_flag)
      {
        // Quick jump to Time Setup
        system_state.mode = TIME_SETUP_MODE;

        // Set the parameter select to the first parameter
        system_state.param_select = SET_MINUTE;
      }
      else if (button->hold_flag)
      {
        // Reserved
      }
      break;

    // Button 4: If pressed, quick jump to Alarm Setup; if held, do nothing (reserved for future use)
    case 4:
      if (button->press_flag)
      {
        // Quick jump to Alarm Setup
        system_state.mode = ALARM_SETUP_MODE;

        // Set the parameter select to the first parameter
        system_state.param_select = SET_MINUTE;
      }
      else if (button->hold_flag)
      {
        // Reserved
      }
      break;

    default:
      break;
  }

  system_state.past_mode = DEFAULT_MODE;
}

/**
 * @brief  Handles the time setup mode based on button actions.
 * @param  button: Pointer to the BUTTON structure containing button state and index.
 * @retval None
 */
void System_Time_Setup_Mode_Handle (BUTTON_DATA *button)
{
  switch (button->index)
  {
    // Button 0: If pressed, cycle through the system modes; if held, set the mode to default
    case 0:
      // If pressed, cycle through the time system modes, but the temporary setting data is still retained (avoid accidental press)
      if (button->press_flag)
      {
        system_state.mode = (system_state.mode < (SYSTEM_MODE_NUM - 1)) ? (system_state.mode + 1) : 0;
      }

      // If held, set the mode to default,
      // and refresh the system parameters to current time values and default settings for convenience
      else if (button->hold_flag && !button->latch)
      {
        system_state.mode = DEFAULT_MODE;
        button->latch = true;

        // Set the initial system parameters to current time values and default settings for convenience
        system_param_data =
        (SYSTEM_PARAM_DATA)
        {
          time_get_data.minute,       // Minutes: 0-59
          time_get_data.hour,         // Hours: 0-23
          time_get_data.dayofweek,    // Day of the week: 1-7 (1 = Sunday, 2 = Monday, ..., 7 = Saturday)
          time_get_data.dateofmonth,  // Date of the month: 1-31
          time_get_data.month,        // Month: 1-12
          time_get_data.year,         // Year: 0-99 (0 = 2000, 1 = 2001, ..., 99 = 2099)
          NOT_USED_MODE,              // Select: DAY_OF_WEEK_MODE, DATE_OF_MONTH_MODE, NOT_USED_MODE
          time_get_data.dayofweek,    // Day of the week: 1-7 (1 = Sunday, 2 = Monday, ..., 7 = Saturday), or Date of the month: 1-31
          true                        // true = ON, false = OFF
        };
      }
      break;

    // Button 1: If pressed, increment the selected parameter; if held, increment continuously
    case 1:
      // Pointer to the selected parameter, its maximum value, and minimum value
      uint8_t *paramPtr1 = NULL;
      uint8_t maxValue1 = 0;
      uint8_t minValue1 = 0;

      // Determine the parameter to increment based on the current selection
      switch (system_state.param_select)
      {
        case SET_MINUTE:  paramPtr1 = &system_param_data.minute;  maxValue1 = 59; minValue1 = 0; break;
        case SET_HOUR:    paramPtr1 = &system_param_data.hour;    maxValue1 = 23; minValue1 = 0; break;
        case SET_DOW:     paramPtr1 = &system_param_data.dow;     maxValue1 = 7;  minValue1 = 1; break;
        case SET_DOM:     paramPtr1 = &system_param_data.dom;     maxValue1 = 31; minValue1 = 1; break;
        case SET_MONTH:   paramPtr1 = &system_param_data.month;   maxValue1 = 12; minValue1 = 1; break;
        case SET_YEAR:    paramPtr1 = &system_param_data.year;    maxValue1 = 99; minValue1 = 0; break;
        default: break;
      }

      // Initialize the start tick for button 1 hold detection
      uint32_t startTick1 = 0;

      // Check if the button is pressed or held
      if (button->press_flag)
      {
        // Increment the selected parameter value once for a button press
        if (paramPtr1)
        {
          // Increment the parameter value, wrapping around if necessary
          *paramPtr1 = (*paramPtr1 < maxValue1) ? (*paramPtr1 + 1) : minValue1;
        }
      }
      else if (button->hold_flag)
      {
        // If the button is held down, increment the parameter value continuously
        if (HAL_GetTick() - startTick1 >= BUTTON_HOLD_CYCLE)
        {
          if (paramPtr1)
          {
            // Increment the parameter value, wrapping around if necessary
            *paramPtr1 = (*paramPtr1 < maxValue1) ? (*paramPtr1 + 1) : minValue1;
          }

          // Update the start tick for the next hold cycle
          startTick1 = HAL_GetTick();
        }
      }
      break;

      // Button 2: If pressed, decrement the selected parameter; if held, decrement continuously
      case 2:
        // Pointer to the selected parameter, its maximum value, and minimum value
        uint8_t *paramPtr2 = NULL;
        uint8_t maxValue2 = 0;
        uint8_t minValue2 = 0;

        // Determine the parameter to decrement based on the current selection
        switch (system_state.param_select)
        {
          case SET_MINUTE:  paramPtr2 = &system_param_data.minute;  maxValue2 = 59; minValue2 = 0; break;
          case SET_HOUR:    paramPtr2 = &system_param_data.hour;    maxValue2 = 23; minValue2 = 0; break;
          case SET_DOW:     paramPtr2 = &system_param_data.dow;     maxValue2 = 7;  minValue2 = 1; break;
          case SET_DOM:     paramPtr2 = &system_param_data.dom;     maxValue2 = 31; minValue2 = 1; break;
          case SET_MONTH:   paramPtr2 = &system_param_data.month;   maxValue2 = 12; minValue2 = 1; break;
          case SET_YEAR:    paramPtr2 = &system_param_data.year;    maxValue2 = 99; minValue2 = 0; break;
          default: break;
        }

        // Initialize the start tick for button 2 hold detection
        uint32_t startTick2 = 0;

        // Check if the button is pressed or held
        if (button->press_flag)
        {
          // Decrement the selected parameter value once for a button press
          if (paramPtr2)
          {
            // Decrement the parameter value, wrapping around if necessary
            *paramPtr2 = (*paramPtr2 > minValue2) ? (*paramPtr2 - 1) : maxValue2;
          }
        }
        else if (button->hold_flag)
        {
          // If the button is held down, decrement the parameter value continuously
          if (HAL_GetTick() - startTick2 >= BUTTON_HOLD_CYCLE)
          {
            if (paramPtr2)
            {
              // Decrement the parameter value, wrapping around if necessary
              *paramPtr2 = (*paramPtr2 > minValue2) ? (*paramPtr2 - 1) : maxValue2;
            }

            // Update the start tick for the next hold cycle
            startTick2 = HAL_GetTick();
          }
        }
        break;

    // Button 3: If pressed, move to the next field; if held, set the time using the current parameter values
    case 3:
      // If the button is pressed, move to the next parameter field, wrapping around if necessary
      if(button->press_flag)
      {
        if (system_state.param_select == SET_YEAR)
        {
          system_state.param_select = SET_MINUTE;
        }
        else
        {
          system_state.param_select += 1;
        }
      }

      // If the button is held down, set the time using the current parameter values
      else if (button->hold_flag && !button->latch)
      {
        // Set the time using the current parameter values
        //    void Time_Set (uint8_t sec, uint8_t min, uint8_t hour, uint8_t dow, uint8_t dom, uint8_t month, uint8_t year)
        Time_Init
        (
          0,
          system_param_data.minute,
          system_param_data.hour,
          system_param_data.dow,
          system_param_data.dom,
          system_param_data.month,
          system_param_data.year
        );

        button->latch = true;

        break;
      }
      break;

    // Button 4: If pressed, move to the previous field; if held, do nothing (reserved for future use)
    case 4:
      // If the button is pressed, move to the previous parameter field, wrapping around if necessary
      if (button->press_flag)
      {
        if (system_state.param_select == SET_MINUTE)
        {
          system_state.param_select = SET_YEAR;
        }
        else
        {
          system_state.param_select -= 1;
        }
      }

      // If the button is held down, do nothing (reserved for future use)
      else if (button->hold_flag)
      {
        // Reserved
      }
      break;

    default:
      break;
  }

  system_state.past_mode = TIME_SETUP_MODE;
}

/**
 * @brief  Handles the alarm setup mode based on button actions.
 * @param  button: Pointer to the BUTTON structure containing button state and index.
 * @retval None
 */
void System_Alarm_Setup_Mode_Handle (BUTTON_DATA *button)
{
  switch (button->index)
  {
    // Button 0: If pressed, cycle through the system modes; if held, set the mode to default
    case 0:
      // If pressed, cycle through the time system modes, but the temporary setting data is still retained (avoid accidental press)
      if (button->press_flag)
      {
        system_state.mode = (system_state.mode < (SYSTEM_MODE_NUM - 1)) ? (system_state.mode + 1) : 0;
      }

      // If held, set the mode to default,
      // and refresh the system parameters to current time values and default settings for convenience
      else if (button->hold_flag && !button->latch)
      {
        system_state.mode = DEFAULT_MODE;
        button->latch = true;

        // Set the initial system parameters to current time values and default settings for convenience
        system_param_data =
        (SYSTEM_PARAM_DATA)
        {
          time_get_data.minute,       // Minutes: 0-59
          time_get_data.hour,         // Hours: 0-23
          time_get_data.dayofweek,    // Day of the week: 1-7 (1 = Sunday, 2 = Monday, ..., 7 = Saturday)
          time_get_data.dateofmonth,  // Date of the month: 1-31
          time_get_data.month,        // Month: 1-12
          time_get_data.year,         // Year: 0-99 (0 = 2000, 1 = 2001, ..., 99 = 2099)
          NOT_USED_MODE,              // Select: DAY_OF_WEEK_MODE, DATE_OF_MONTH_MODE, NOT_USED_MODE
          time_get_data.dayofweek,    // Day of the week: 1-7 (1 = Sunday, 2 = Monday, ..., 7 = Saturday), or Date of the month: 1-31
          true                        // true = ON, false = OFF
        };
      }
      break;

    // Button 1: If pressed, increment the selected parameter; if held, increment continuously
    case 1:
      // Pointer to the selected parameter, its maximum value, and minimum value
      uint8_t *paramPtr1 = NULL;
      uint8_t maxValue1 = 0;
      uint8_t minValue1 = 0;

      // Determine the parameter to increment based on the current selection
      switch (system_state.param_select)
      {
        case SET_MINUTE:  paramPtr1 = &system_param_data.minute;  maxValue1 = 59; minValue1 = 0; break;
        case SET_HOUR:    paramPtr1 = &system_param_data.hour;    maxValue1 = 23; minValue1 = 0; break;
        case SET_DY_DT:   paramPtr1 = (uint8_t *)&system_param_data.dy_dt; maxValue1 = 2; minValue1 = 0; break;
        case SET_DOW_DOM: paramPtr1 = &system_param_data.dow_dom; maxValue1 = 31; minValue1 = 1; break;
        case SET_ON_OFF:  system_param_data.on_off = !system_param_data.on_off;                  break;
        default: break;
      }

      if (system_state.param_select == SET_ON_OFF)
      {
        break;
      }

      // Initialize the start tick for button 1 hold detection
      uint32_t startTick1 = 0;

      // Check if the button is pressed or held
      if (button->press_flag)
      {
        // Increment the selected parameter value once for a button press
        if (paramPtr1)
        {
          // Increment the parameter value, wrapping around if necessary
          *paramPtr1 = (*paramPtr1 < maxValue1) ? (*paramPtr1 + 1) : minValue1;
        }
      }
      else if (button->hold_flag)
      {
        // If the button is held down, increment the parameter value continuously
        if (HAL_GetTick() - startTick1 >= BUTTON_HOLD_CYCLE)
        {
          // Increment the selected parameter value continuously
          if (paramPtr1)
          {
            // Increment the parameter value, wrapping around if necessary
            *paramPtr1 = (*paramPtr1 < maxValue1) ? (*paramPtr1 + 1) : minValue1;
          }
        }

        // Update the start tick for the next hold cycle
        startTick1 = HAL_GetTick();
      }
      break;

      case 2: // BTN2: Decrement current value or scroll slots
      {
        // Pointer to the selected parameter, its maximum value, and minimum value
        uint8_t *paramPtr2 = NULL;
        uint8_t maxValue2 = 0;
        uint8_t minValue2 = 0;

        // Determine the parameter to decrement based on the current selection
        switch (system_state.param_select)
        {
          case SET_MINUTE:  paramPtr2 = &system_param_data.minute;  maxValue2 = 59; minValue2 = 0; break;
          case SET_HOUR:    paramPtr2 = &system_param_data.hour;    maxValue2 = 23; minValue2 = 0; break;
          case SET_DY_DT:   paramPtr2 = (uint8_t *)&system_param_data.dy_dt; maxValue2 = 2; minValue2 = 0; break;
          case SET_DOW_DOM: paramPtr2 = &system_param_data.dow_dom; maxValue2 = 31; minValue2 = 1; break;
          case SET_ON_OFF:  system_param_data.on_off = !system_param_data.on_off;                  break;
          default: break;
        }

        if (system_state.param_select == SET_ON_OFF)
        {
          break;
        }

        // Initialize the start tick for button 2 hold detection
        uint32_t startTick2 = 0;

        // Check if the button is pressed or held
        if (button->press_flag)
        {
          // Check if the selected parameter is ON/OFF
          if (system_state.param_select == SET_ON_OFF)
          {
            // Toggle the on/off state of the alarm
            system_param_data.on_off = !system_param_data.on_off;
          }
          // Else, decrement the selected parameter value once for a button press
          else
          {
            // Decrement the selected parameter value once for a button press
            if (paramPtr2)
            {
              // Decrement the parameter value, wrapping around if necessary
              *paramPtr2 = (*paramPtr2 > minValue2) ? (*paramPtr2 - 1) : maxValue2;
            }
          }
        }
        else if (button->hold_flag)
        {
          // If the button is held down, decrement the parameter value continuously
          if (HAL_GetTick() - startTick2 >= BUTTON_HOLD_CYCLE)
          {
            // Check if the selected parameter is ON/OFF
            if (system_state.param_select == SET_ON_OFF)
            {
              // Toggle the on/off state of the alarm
              system_param_data.on_off = !system_param_data.on_off;
            }
            // Else, decrement the selected parameter value continuously
            else
            {
              // Decrement the selected parameter value continuously
              if (paramPtr2)
              {
                // Decrement the parameter value, wrapping around if necessary
                *paramPtr2 = (*paramPtr2 > minValue2) ? (*paramPtr2 - 1) : maxValue2;
              }
            }

            // Update the start tick for the next hold cycle
            startTick2 = HAL_GetTick();
          }
        }

        break;
      }

    // Button 3: If pressed, move to the next field; if held, save the alarm and return to default mode
    case 3:
      // If the button is pressed, move to the next parameter field, wrapping around if necessary
      if (button->press_flag)
      {
        if      (system_state.param_select == SET_HOUR)
        {
          system_state.param_select = SET_DY_DT;
        }
        else if (system_state.param_select == SET_ON_OFF)
        {
          system_state.param_select = SET_MINUTE;
        }
        else
        {
          system_state.param_select += 1;
        }
      }
      // If the button is held down, save the alarm and return to default mode
      else if (button->hold_flag && !button->latch)
      {
        // If the previous mode is Alarm View Mode
        // Use the system cursor instead to keep the alarm slot pointer unchanged
        if (system_state.past_mode == ALARM_VIEW_MODE)
        {
          // Save the alarm to EEPROM and return to Default Mode
          //    void Alarm_Set (uint8_t sec, uint8_t min, uint8_t hour, uint8_t dow_dom, ALARM_DY_DT_MODE dy_dt, uint8_t on_off, uint8_t slot)
          Alarm_Set
          (
            0,
            system_param_data.minute,
            system_param_data.hour,
            system_param_data.dow_dom,
            system_param_data.dy_dt,
            system_param_data.on_off,
            system_state.cursor         // Save the alarm at the address where the cursor points at in Alarm View Mode
          );

          // Update the newly set alarm data
          Alarm_Get(system_state.cursor, &alarm_get_data[system_state.cursor]);
        }
        else
        {
          // Save the alarm to EEPROM and return to Default Mode
          //    void Alarm_Set (uint8_t sec, uint8_t min, uint8_t hour, uint8_t dow_dom, ALARM_DY_DT_MODE dy_dt, uint8_t on_off, uint8_t slot)
          Alarm_Set
          (
            0,
            system_param_data.minute,
            system_param_data.hour,
            system_param_data.dow_dom,
            system_param_data.dy_dt,
            system_param_data.on_off,
            alarm_slot_ptr              // Pointer to the next available slot in the EEPROM module
          );

          // Update the newly set alarm data
          Alarm_Get(alarm_slot_ptr, &alarm_get_data[alarm_slot_ptr]);

          // Increment the pointer to the next available slot in the EEPROM module
          alarm_slot_ptr = (alarm_slot_ptr < ALARM_SLOT_NUM) ? (alarm_slot_ptr + 1) : 0;

          // Save the alarm pointer data to the EEPROM module
          Alarm_Slot_Pointer_Set();
        }

        // Reset the button latch to avoid function replication
        button->latch = true;
      }
      break;

    case 4: // BTN4: Go back to previous field
      if      (button->press_flag)
      {
        if      (system_state.param_select == SET_DY_DT)
        {
          system_state.param_select = SET_HOUR;
        }
        else if (system_state.param_select == SET_MINUTE)
        {
          system_state.param_select = SET_ON_OFF;
        }
        else
        {
          system_state.param_select -= 1;
        }
      }
      else if (button->hold_flag)
      {
        // Clear all alarms in the EEPROM module
        for (int i = 0; i < alarm_slot_ptr; i++)
        {
          Alarm_Clear(i);
          Alarm_Get(i, &alarm_get_data[i]);
        }

        // Reset the alarm slot pointer
        alarm_slot_ptr = 0;
        Alarm_Slot_Pointer_Set();
      }
      break;

    default:
      // Reserved for future use
      break;
  }

  system_state.past_mode = ALARM_ACTIVE_MODE;
}

/**
 * @brief  Handles the alarm view mode based on button actions.
 * @param  button: Pointer to the BUTTON structure containing button state and index.
 * @retval None
 */
void System_Alarm_View_Mode_Handle (BUTTON_DATA *button)
{
  // Initially reset system cursor
  system_state.cursor = 0;

  // Handle button actions in alarm view mode
  switch (button->index)
  {
    // Button 0: If pressed, cycle through the time setup fields; if held, set the mode to default
    case 0:
      // If pressed, cycle through the time setup fields
      if (button->press_flag)
      {
        system_state.mode = (system_state.mode < (SYSTEM_MODE_NUM - 1)) ? (system_state.mode + 1) : 0;
      }
      // If held, set the mode to default
      else if (button->hold_flag && !button->latch)
      {
        system_state.mode = DEFAULT_MODE;
        button->latch = true;
      }
      break;

    // Button 1: If pressed, increment the selection cursor
    case 1:
      if      (button->press_flag)
      {
        system_state.cursor = (system_state.cursor < (SYSTEM_CURSOR_MAX - 1)) ? (system_state.cursor + 1) : 0;
      }
      else if (button->hold_flag)
      {

      }
      break;

    // Button 2: If pressed, decrement the selection cursor
    case 2:
      if      (button->press_flag)
      {
        system_state.cursor = (system_state.cursor > 0) ? (system_state.cursor - 1) : SYSTEM_CURSOR_MAX;
      }
      else if (button->hold_flag)
      {

      }
      break;

    // Button 3: If pressed, toggle ON/OFF; if held, enter Alarm Setup Mode with selected alarm data preloaded (for editing)
    case 3:
      if      (button->press_flag)
      {
        // Retrieve the selected alarm data to system parameter data
        system_param_data.minute  = alarm_get_data[system_state.cursor].minute;
        system_param_data.hour    = alarm_get_data[system_state.cursor].hour;
        system_param_data.dy_dt   = alarm_get_data[system_state.cursor].dy_dt;
        system_param_data.dow_dom = alarm_get_data[system_state.cursor].dow_dom;
        system_param_data.on_off  = alarm_get_data[system_state.cursor].on_off;

        // Toggle ON/OFF data
        system_param_data.on_off = !system_param_data.on_off;

        // Save the modified alarm to the EEPROM module
        //    void Alarm_Set (uint8_t sec, uint8_t min, uint8_t hour, uint8_t dow_dom, ALARM_DY_DT_MODE dy_dt, uint8_t on_off, uint8_t slot)
        Alarm_Set
        (
          0,
          system_param_data.minute,
          system_param_data.hour,
          system_param_data.dow_dom,
          system_param_data.dy_dt,
          system_param_data.on_off,
          system_state.cursor
        );

        // Update the newly set alarm data
        Alarm_Get(system_state.cursor, &alarm_get_data[system_state.cursor]);
      }
      else if (button->hold_flag)
      {
        // Retrieve the selected alarm data to system parameter data
        system_param_data.minute  = alarm_get_data[system_state.cursor].minute;
        system_param_data.hour    = alarm_get_data[system_state.cursor].hour;
        system_param_data.dy_dt   = alarm_get_data[system_state.cursor].dy_dt;
        system_param_data.dow_dom = alarm_get_data[system_state.cursor].dow_dom;
        system_param_data.on_off  = alarm_get_data[system_state.cursor].on_off;

        // System switches to Alarm Setup Mode
        system_state.mode = ALARM_SETUP_MODE;
      }
      break;

    // Button 4: If held, clear current alarm
    case 4:
      if      (button->press_flag)
      {

      }
      else if (button->hold_flag)
      {
        // Clear current alarm
        Alarm_Clear(system_state.cursor);

        // Update alarm data
        Alarm_Get(system_state.cursor, &alarm_get_data[system_state.cursor]);
      }
      break;

    default:
      break;
  }

  system_state.past_mode = ALARM_VIEW_MODE;
}

/**
 * @brief  Handles the alarm active mode based on button actions.
 * @param  button: Pointer to the BUTTON structure containing button state and index.
 * @retval None
 */
void System_Alarm_Active_Mode_Handle (BUTTON_DATA *button)
{
  // Handle button actions in alarm active mode
  switch (button->index)
  {
    // Button 0: If pressed, cycle through the time setup fields; if held, set the mode to default
    case 0:
      // If pressed, cycle through the time setup fields
      if (button->press_flag)
      {
        system_state.mode = (system_state.mode < (SYSTEM_MODE_NUM - 1)) ? (system_state.mode + 1) : 0;
      }
      // If held, set the mode to default
      else if (button->hold_flag && !button->latch)
      {
        system_state.mode = DEFAULT_MODE;
        button->latch = true;
      }
      break;

    case 1:
      if      (button->press_flag)
      {

      }
      else if (button->hold_flag)
      {

      }
      break;

    case 2:
      if      (button->press_flag)
      {

      }
      else if (button->hold_flag)
      {

      }
      break;

    case 3:
      if      (button->press_flag)
      {

      }
      else if (button->hold_flag)
      {

      }
      break;

    case 4:
      if      (button->press_flag)
      {

      }
      else if (button->hold_flag)
      {

      }
      break;

    default:
      break;
  }

  system_state.past_mode = ALARM_ACTIVE_MODE;
}

/**
 * @brief  Handles the system options mode based on button actions.
 * @param  button: Pointer to the BUTTON structure containing button state and index.
 * @retval None
 */
void System_Options_Mode_Handle (BUTTON_DATA *button)
{
  // Handle button actions in system options mode
  switch (button->index)
  {
    // Button 0: If pressed, cycle through the time setup fields; if held, set the mode to default
    case 0:
      // If pressed, cycle through the time setup fields
      if      (button->press_flag)
      {
        system_state.mode = (system_state.mode < (SYSTEM_MODE_NUM - 1)) ? (system_state.mode + 1) : 0;
      }

      // If held, set the mode to default
      else if (button->hold_flag)
      {
        system_state.mode = DEFAULT_MODE;
      }
      break;

    case 1:
      if      (button->press_flag)
      {

      }
      else if (button->hold_flag)
      {

      }
      break;

    case 2:
      if      (button->press_flag)
      {

      }
      else if (button->hold_flag)
      {

      }
      break;

    case 3:
      if      (button->press_flag)
      {

      }
      else if (button->hold_flag)
      {

      }
      break;

    case 4:
      if      (button->press_flag)
      {

      }
      else if (button->hold_flag)
      {

      }
      break;

    default:
      break;
  }

  system_state.past_mode = SYSTEM_OPTIONS_MODE;
}

/**
  * @brief  Callback function to handle GPIO interrupts.
  * @param  GPIO_Pin: The pin number of the GPIO that triggered the interrupt.
  * @retval None
*/
void HAL_GPIO_EXTI_Callback(uint16_t GPIO_Pin)
{
  switch (GPIO_Pin)
  {
    case RTC_IN5_Pin:
      // Set the RTC Interrupt Flag
      rtc_int_flag = true;
      break;

    case BUTTON0_IN12_Pin:
      // Set the Button 0 Interrupt Flag
      button0.int_flag = true;
      break;

    case BUTTON1_IN13_Pin:
      // Set the Button 1 Interrupt Flag
      button1.int_flag = true;
      break;

    case BUTTON2_IN14_Pin:
      // Set the Button 2 Interrupt Flag
      button2.int_flag = true;
      break;

    case BUTTON3_IN15_Pin:
      // Set the Button 3 Interrupt Flag
      button3.int_flag = true;
      break;

    case BUTTON4_IN8_Pin:
      // Set the Button 4 Interrupt Flag
      button4.int_flag = true;
      break;

    default:
      // Handle other GPIO interrupts if necessary
      break;
  }
}

/**
  * @brief  Callback function to handle UART interrupts.
  * @param  huart: Pointer to the UART handle.
  * @retval None
*/
void HAL_UART_RxCpltCallback(UART_HandleTypeDef *huart)
{
  // Verify the UART instance to ensure the callback is for USART1
  // If the UART instance is USART1, store the received data into the uart_rx_data array
  if(huart->Instance == USART1)
  {
    // Store the received data into the uart_rx_data array
    uart_rx_hour = uart_rx_data[0];
    uart_rx_minute = uart_rx_data[1];

    // Set the UART receive flag
    uart_rx_flag = 1;
  }
}

/**
  * @brief  Callback function to handle ADC conversion complete interrupts.
  * @param  hadc: Pointer to the ADC handle.
  * @retval None
*/
void HAL_ADC_ConvCpltCallback(ADC_HandleTypeDef* hadc)
{
	// Verify the ADC instance to ensure the callback is for ADC1
  // If the ADC instance is ADC1, get the ADC value and calculate the battery percentage
  if (hadc == &hadc1)
	{
    // Get the ADC value
    adc_data = HAL_ADC_GetValue(&hadc1);

    // Set the ADC valid flag
    adc_valid_flag = 1;

    // Calculate the battery percentage
    battery_percentage = adc_data * 100 / 4095;
	}
}

/* USER CODE END 4 */

void Error_Handler(void)
{
  __disable_irq();
  while (1)
  {
  }
}
